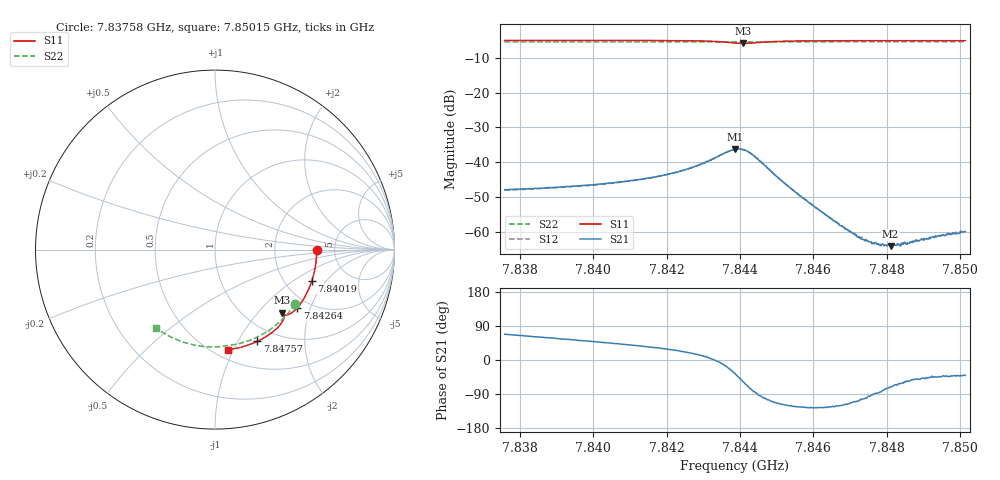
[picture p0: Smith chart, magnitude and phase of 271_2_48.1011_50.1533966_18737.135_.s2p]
#  HZ  S  RI  R  50.00
! Rohde & Schwarz Vector Network Analyzer
! Rohde-Schwarz,ZNB20-2Port,1311601062101988,3.16
! Created: UTC 12/23/2023, 4:01:46 AM
! freq[Hz]  re:S11  im:S11  re:S21  im:S21  re:S12  im:S12  re:S22  im:S22
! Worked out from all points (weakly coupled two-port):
!   401 points, 7.83758 GHz to 7.85015 GHz, reference 50 ohm
!   highest |S21| = -36.17 dB at 7.84386 GHz (marker M1); lowest = -64.2 dB at 7.84811 GHz (marker M2)
!   lowest |S11| = -5.8 dB at 7.84408 GHz (marker M3), VSWR 3.11, Z = 71.3 - j68.2 ohm
!   |S11| at or under -10 dB: nowhere
!   |S22| runs from -5.4 to -5.3 dB; largest |S21 - S12| = 0.00034
!   S11 on the Smith chart (normalised r, x): 7.83758 GHz: 3.61, -0.03; 7.84019 GHz: 2.80, -1.44; 7.84264 GHz: 1.72, -1.63; 7.84757 GHz: 0.81, -1.21; 7.85015 GHz: 0.58, -0.95
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7.837576e9  0.5665 -0.00247  0.00151 0.00371  0.0015 0.00365  0.446 -0.3042
7.839683e9  0.5491 -0.1415  0.00288 0.0036  0.00286 0.00353  0.348 -0.4139
7.840186e9  0.5395 -0.174  0.0033 0.00352  0.00324 0.00353  0.3202 -0.4358
7.84094e9  0.5212 -0.222  0.00406 0.00345  0.00405 0.00342  0.2763 -0.4653
7.841789e9  0.4944 -0.2745  0.00537 0.00328  0.00535 0.00328  0.2235 -0.493
7.842638e9  0.4582 -0.3247  0.00776 0.00263  0.00771 0.00266  0.1678 -0.5148
7.843393e9  0.4106 -0.3615  0.012 -0.00079  0.012 -0.000865  0.1162 -0.5279
7.843864e9  0.3762 -0.36  0.0126 -0.00905  0.0124 -0.00899  0.0848 -0.5323
7.844085e9  0.3736 -0.3519  0.00809 -0.0128  0.0083 -0.0127  0.0709 -0.5341
7.844368e9  0.3826 -0.3555  0.0017 -0.0124  0.00158 -0.0123  0.0528 -0.5375
7.845185e9  0.3695 -0.4104  -0.00239 -0.00454  -0.00237 -0.00454  -0.0042 -0.5427
7.845971e9  0.3301 -0.4519  -0.00142 -0.00195  -0.00141 -0.00199  -0.0597 -0.5404
7.846726e9  0.2873 -0.4828  -0.00062 -0.00105  -0.00066 -0.0011  -0.1122 -0.5326
7.847103e9  0.2651 -0.4959  -0.000325 -0.000889  -0.000326 -0.00085  -0.1381 -0.5265
7.847355e9  0.2499 -0.504  -0.000172 -0.000758  -0.00019 -0.000753  -0.1551 -0.522
7.847575e9  0.2366 -0.5106  -3.85e-05 -0.000703  -8.61e-05 -0.000721  -0.17 -0.5176
7.847795e9  0.2231 -0.5168  4.53e-05 -0.000649  7.68e-05 -0.000639  -0.1846 -0.5126
7.848078e9  0.2055 -0.5241  0.000201 -0.000606  0.000194 -0.000615  -0.2031 -0.5057
7.848109e9  0.2036 -0.5249  0.000191 -0.000586  0.000197 -0.000614  -0.2052 -0.505
7.848361e9  0.1877 -0.5308  0.000286 -0.000559  0.00029 -0.000573  -0.2215 -0.4981
7.849461e9  0.117 -0.5505  0.000627 -0.000613  0.000617 -0.000598  -0.2898 -0.4624
7.850153e9  0.0715 -0.5579  0.000754 -0.00065  0.000789 -0.00065  -0.3298 -0.435
